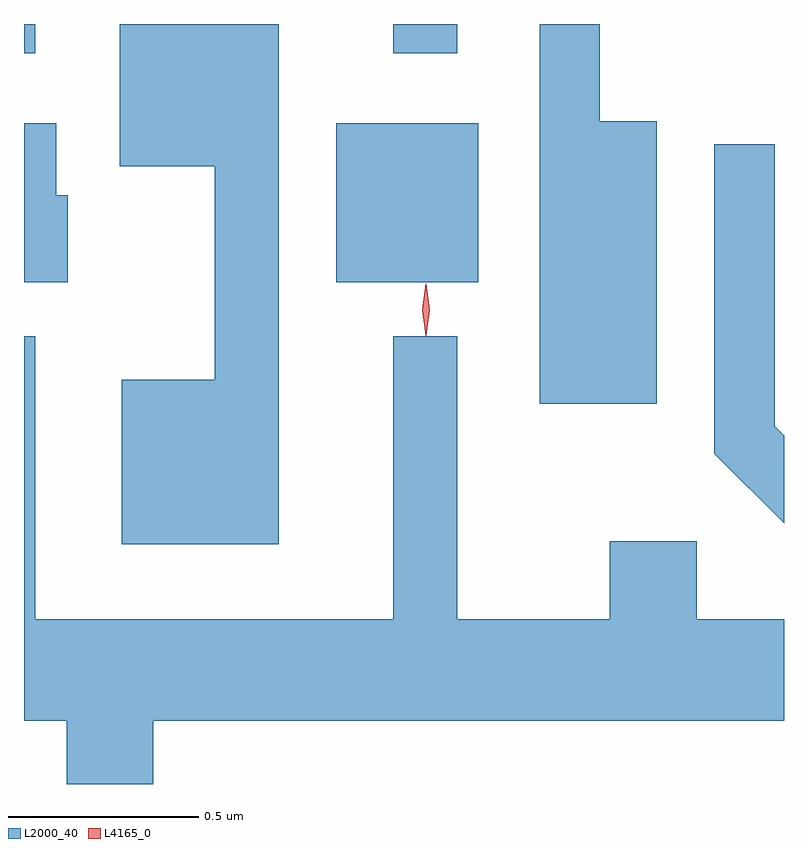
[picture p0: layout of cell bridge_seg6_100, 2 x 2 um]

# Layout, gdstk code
import gdstk
lib = gdstk.Library(unit=1e-6, precision=1e-09)
def R(c, l, rs):  # rectangles x0, y0, x1, y1
    for r in rs: c.add(gdstk.rectangle(r[:2], r[2:], *l))
def P(c, l, *ps):  # polygons
    for p in ps: c.add(gdstk.Polygon(p, *l))
L2000_40 = (2000, 40)
L4165_0 = (4165, 0)

bridge_seg6_100 = lib.new_cell('bridge_seg6_100')
R(bridge_seg6_100, L2000_40, [(1050.211,1631.111,1050.584,1631.529), (1049.389,1631.713,1049.419,1631.79), (1050.361,1631.713,1050.529,1631.79)])
P(bridge_seg6_100, L2000_40, [(1050.059,1631.79),(1049.641,1631.79),(1049.641,1631.416),(1049.891,1631.416),(1049.891,1630.854),(1049.646,1630.854),(1049.646,1630.421),(1050.059,1630.421)],
  [(1051.054,1631.534),(1050.904,1631.534),(1050.904,1631.79),(1050.746,1631.79),(1050.746,1630.791),(1051.054,1630.791)],
  [(1049.504,1631.339),(1049.474,1631.339),(1049.474,1631.529),(1049.389,1631.529),(1049.389,1631.111),(1049.504,1631.111)],
  [(1051.389,1630.707),(1051.364,1630.732),(1051.364,1631.473),(1051.206,1631.473),(1051.206,1630.659),(1051.389,1630.476)],
  [(1049.729,1629.956),(1051.389,1629.956),(1051.389,1630.224),(1051.159,1630.224),(1051.159,1630.429),(1050.931,1630.429),(1050.931,1630.224),(1050.529,1630.224),(1050.529,1630.968),(1050.361,1630.968),(1050.361,1630.224),(1049.419,1630.224),(1049.419,1630.968),(1049.389,1630.968),(1049.389,1629.956),(1049.501,1629.956),(1049.501,1629.79),(1049.729,1629.79)])
P(bridge_seg6_100, L4165_0, [(1050.447,1630.969),(1050.446,1630.97),(1050.437,1631.038),(1050.446,1631.106),(1050.447,1631.106),(1050.447,1631.106),(1050.457,1631.038),(1050.447,1630.97)],
  [(1050.447,1630.972),(1050.446,1630.973),(1050.437,1631.037),(1050.446,1631.101),(1050.447,1631.102),(1050.447,1631.101),(1050.457,1631.037),(1050.447,1630.973)])

lib.write_gds('bridge_seg6_100.gds')
